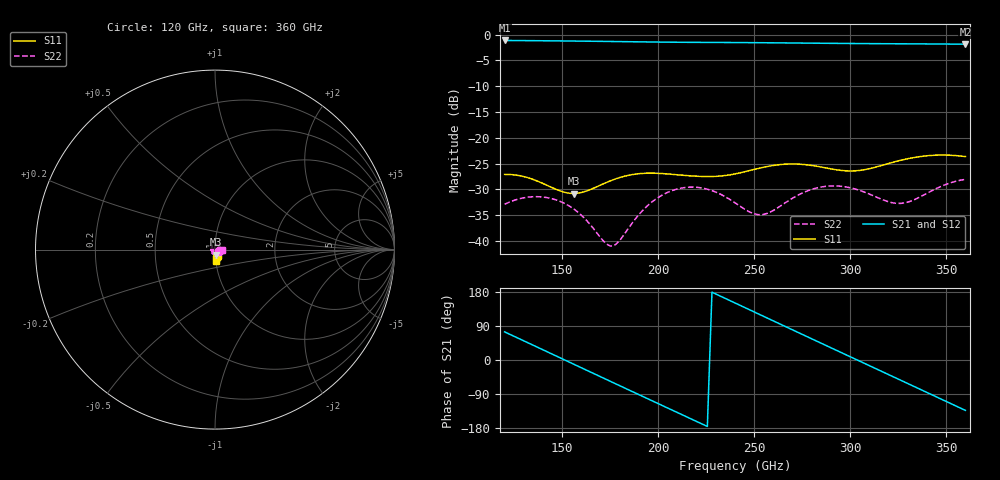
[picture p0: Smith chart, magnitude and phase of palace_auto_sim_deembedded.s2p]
! Created with skrf 1.11.0 (http://scikit-rf.org).
# GHz S DB R 50.0
!freq dBS11 angS11 dBS21 angS21 dBS12 angS12 dBS22 angS22
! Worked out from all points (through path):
!   101 points, 120 GHz to 360 GHz, reference 50 ohm
!   highest |S21| = -1.13 dB at 120 GHz (marker M1); lowest = -1.9 dB at 360 GHz (marker M2)
!   group delay of S21, straight-line fit = 6.56 ps
!   lowest |S11| = -30.8 dB at 156 GHz (marker M3), VSWR 1.06, Z = 50.4 - j2.86 ohm
!   |S11| at or under -10 dB: start of sweep to end of sweep
!   |S22| runs from -41.0 to -28.1 dB; largest |S21 - S12| = 1e-13
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120  -27.10 -71.9  -1.13 74.2  -1.13 74.2  -32.90 -20.8
139.2  -28.73 -89.9  -1.19 28.8  -1.19 28.8  -31.46 -57.2
156  -30.81 -79.8  -1.25 -11.0  -1.25 -11.0  -33.80 -100.6
160.8  -30.54 -74.0  -1.27 -22.4  -1.27 -22.4  -35.30 -117.0
175.2  -28.34 -68.5  -1.33 -56.5  -1.33 -56.5  -41.01 152.7
187.2  -27.09 -74.4  -1.38 -84.9  -1.38 -84.9  -36.16 64.3
201.6  -26.93 -81.9  -1.45 -118.9  -1.45 -118.9  -31.21 9.3
220.8  -27.47 -83.1  -1.50 -164.1  -1.50 -164.1  -29.63 -54.5
230.4  -27.47 -80.2  -1.52 173.3  -1.52 173.3  -30.59 -89.6
240  -27.01 -76.9  -1.53 150.5  -1.53 150.5  -32.60 -131.6
252  -25.96 -76.4  -1.56 122.1  -1.56 122.1  -34.90 156.4
261.6  -25.28 -79.8  -1.59 99.4  -1.59 99.4  -33.72 94.1
271.2  -25.08 -84.5  -1.63 76.6  -1.63 76.6  -31.45 46.2
280.8  -25.41 -88.1  -1.66 54.0  -1.66 54.0  -29.90 7.3
292.8  -26.20 -87.2  -1.70 25.6  -1.70 25.6  -29.34 -37.5
302.4  -26.41 -81.6  -1.72 3.0  -1.72 3.0  -29.91 -74.7
312  -25.81 -76.0  -1.75 -19.6  -1.75 -19.6  -31.23 -117.3
321.6  -24.82 -74.3  -1.77 -42.3  -1.77 -42.3  -32.57 -169.9
331.2  -23.97 -76.2  -1.79 -64.9  -1.79 -64.9  -32.33 130.4
340.8  -23.46 -79.9  -1.81 -87.6  -1.81 -87.6  -30.60 77.3
350.4  -23.36 -83.8  -1.83 -110.3  -1.83 -110.3  -28.97 33.2
360  -23.64 -86.5  -1.85 -133.0  -1.85 -133.0  -28.06 -6.3
